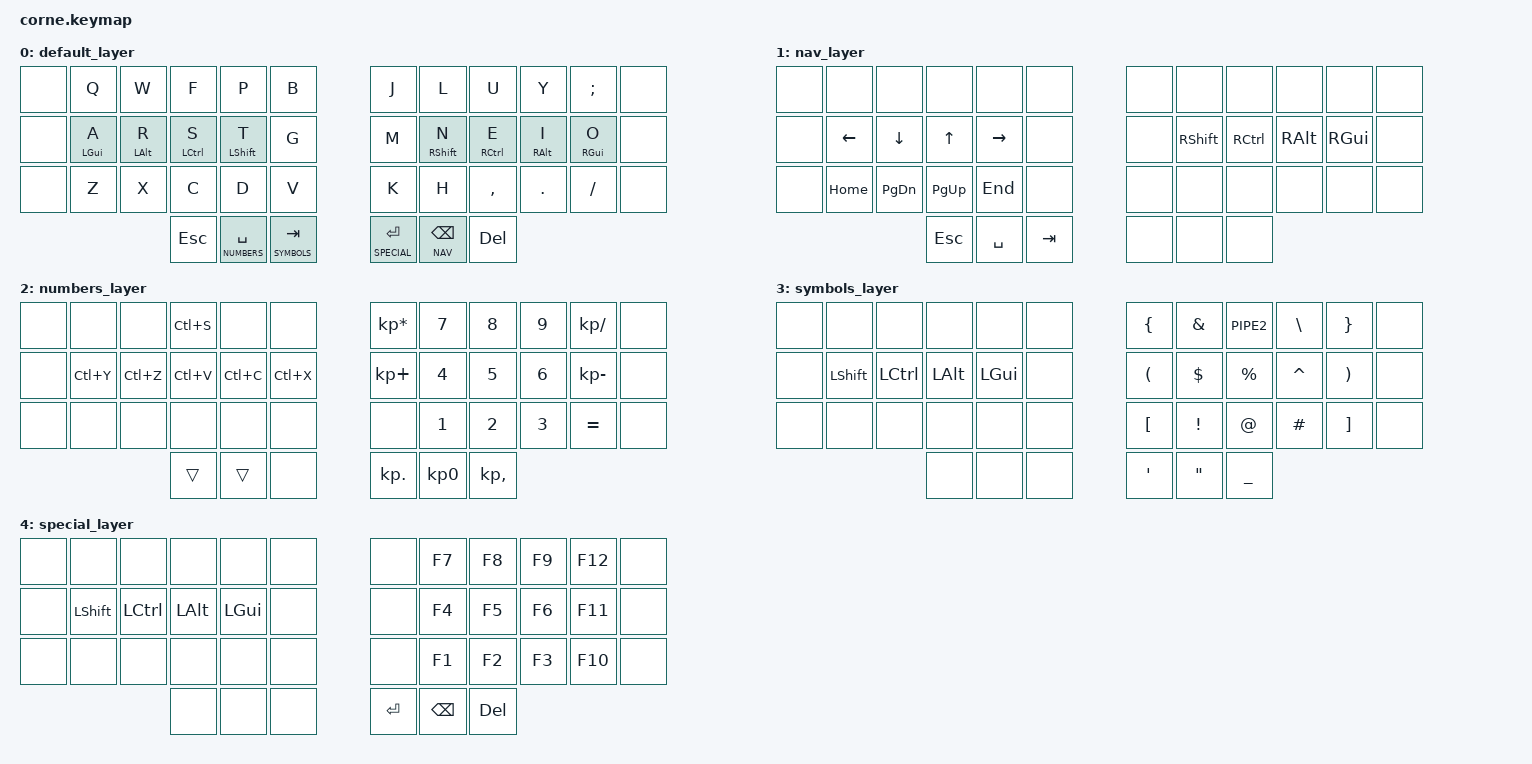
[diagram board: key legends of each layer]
/*
 * Copyright (c) 2020 The ZMK Contributors
 *
 * SPDX-License-Identifier: MIT
 */

#include <behaviors.dtsi>
#include <dt-bindings/zmk/keys.h>
#include <dt-bindings/zmk/bt.h>

#define BASE 0
#define NAV 1
#define NUMBERS 2
#define SYMBOLS 3
#define SPECIAL 4

#define SC_COPY LC(C)
#define SC_PAST LC(V)
#define SC_CUT  LC(X)
#define SC_UNDO LC(Z)
#define SC_REDO LC(Y)
#define SC_SAVE LC(S)

/ { 
behaviors {  
	   hm: homerow_mods {
            compatible = "zmk,behavior-hold-tap";
            label = "HOMEROW_MODS";
            #binding-cells = <2>;
            tapping-term-ms = <130>;
            #quick-tap-ms = <0>;
            flavor = "tap-preferred";
            bindings = <&kp>, <&kp>;
        };
  };
  keymap {
    compatible = "zmk,keymap";

    default_layer {
      bindings = <
      &none	&kp Q 		&kp W 		&kp F	 	&kp P 		 		&kp B                   &kp J 			&kp L 		 &kp U 		 &kp Y 		&kp SEMI	&none	
      &none	&hm LGUI A 	&hm LALT R 	&hm LCTRL S &hm LSHIFT T 		&kp G                   &kp M 			&hm RSHIFT N &hm RCTRL E &hm RALT I &hm RGUI O	&none
      &none	&kp Z 		&kp X		&kp C	 	&kp D 		 		&kp V                   &kp K 			&kp H 		 &kp COMMA 	 &kp DOT 	&kp SLASH	&none
								&kp ESCAPE  &lt NUMBERS SPACE 	&lt SYMBOLS TAB  		&lt SPECIAL RET &lt NAV BSPC &kp DEL 			
      >;
    };

    nav_layer {
      bindings = <
      &none	&none 		&none 		&none 		&none 		&none                   &none       &none 		&none 		&none 		&none	&none
      &none	&kp LEFT 		&kp DOWN 	&kp UP 		&kp RIGHT 	&none                   &none       &kp RSHIFT  &kp RCTRL   &kp RALT    &kp RGUI	&none
      &none	&kp HOME 		&kp PG_DN 	&kp PG_UP 	&kp END 	&none                   &none       &none 		&none 		&none 		&none	&none
                                &kp ESCAPE  &kp SPACE 	&kp TAB       			&none  		&none 		&none
      >;
    };

    numbers_layer {
      bindings = <
      &none	&none 		&none 		&kp SC_SAVE &none 		&none               	&kp KP_ASTERISK &kp N7 		&kp N8 		&kp N9 	&kp KP_SLASH	&none
      &none	&kp SC_REDO 	&kp SC_UNDO &kp SC_PAST &kp SC_COPY &kp SC_CUT          	&kp KP_PLUS     &kp N4 		&kp N5 		&kp N6 	&kp KP_MINUS	&none
      &none	&none 		&none 		&none 		&none 		&none               	&none        	&kp N1 		&kp N2 		&kp N3 	&kp EQUAL	&none
                                &trans		&trans		&none      				&kp KP_DOT      &kp KP_N0   &kp KP_COMMA
      >; 
    };

    symbols_layer {
      bindings = <
      &none	&none       &none 		&none 		&none 		&none                   &kp LBRC 	&kp AMPS 	&kp PIPE2 	&kp BSLH 	&kp RBRC   	&none  
      &none	&kp LSHIFT  &kp LCTRL   	&kp LALT    &kp LGUI 	&none               	&kp LPAR 	&kp DLLR 	&kp PRCNT 	&kp CARET 	&kp RPAR   	&none   
      &none	&none       &none 		&none 		&none 		&none                   &kp LBKT 	&kp EXCL 	&kp AT 		&kp HASH 	&kp RBKT  	&none    
								&none  		&none 		&none       			&kp APOS    &kp DQT     &kp UNDER 
      >;
    };

    special_layer {
      bindings = <
      &none	&none       &none 		&none 		&none 		&none                 	&none 		&kp F7 		&kp F8 		&kp F9 		&kp F12	&none
      &none	&kp LSHIFT  &kp LCTRL   	&kp LALT    &kp LGUI 	&none             		&none     	&kp F4 		&kp F5 		&kp F6 		&kp F11	&none
      &none	&none       &none 		&none 		&none 		&none                 	&none       &kp F1 		&kp F2 		&kp F3 		&kp F10	&none
								&none  		&none 		&none          			&kp RET  	&kp BSPC  	&kp DEL 
      >;
    };

  };
};
